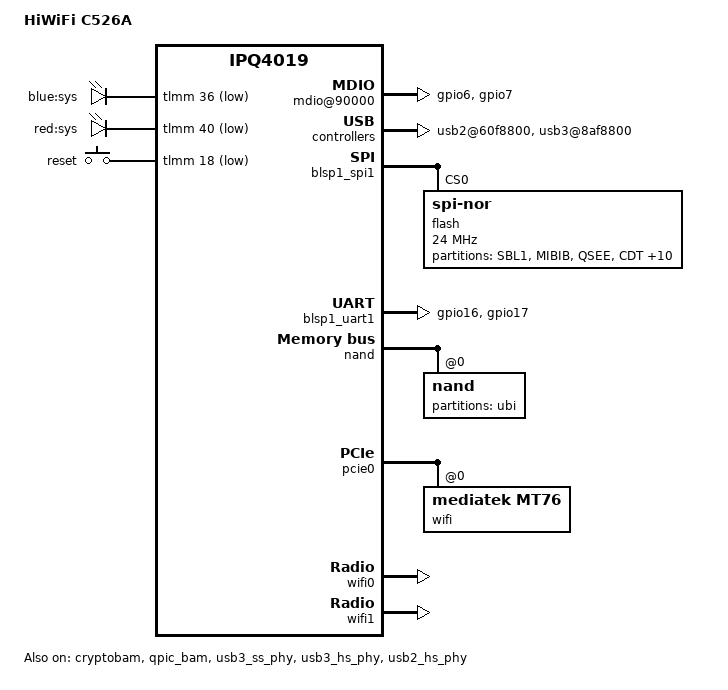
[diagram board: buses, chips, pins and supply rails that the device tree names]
// SPDX-License-Identifier: GPL-2.0-or-later OR MIT

#include "qcom-ipq4019.dtsi"
#include <dt-bindings/gpio/gpio.h>
#include <dt-bindings/input/input.h>
#include <dt-bindings/soc/qcom,tcsr.h>

/ {
	model = "HiWiFi C526A";
	compatible = "hiwifi,c526a";

	aliases {
		led-boot = &led_boot;
		led-failsafe = &led_boot;
		led-running = &led_sys;
		led-upgrade = &led_sys;
	};

	chosen {
		bootargs-append = " ubi.mtd=ubi root=/dev/ubiblock0_1";
	};

	soc {
		rng@22000 {
			status = "okay";
		};

		mdio@90000 {
			status = "okay";
			pinctrl-0 = <&mdio_pins>;
			pinctrl-names = "default";
		};

		ess-psgmii@98000 {
			status = "okay";
		};

		tcsr@1949000 {
			compatible = "qcom,tcsr";
			reg = <0x1949000 0x100>;
			qcom,wifi_glb_cfg = <TCSR_WIFI_GLB_CFG>;
		};

		tcsr@194b000 {
			compatible = "qcom,tcsr";
			reg = <0x194b000 0x100>;
			qcom,usb-hsphy-mode-select = <TCSR_USB_HSPHY_HOST_MODE>;
		};

		ess_tcsr@1953000 {
			compatible = "qcom,tcsr";
			reg = <0x1953000 0x1000>;
			qcom,ess-interface-select = <TCSR_ESS_PSGMII>;
		};

		tcsr@1957000 {
			compatible = "qcom,tcsr";
			reg = <0x1957000 0x100>;
			qcom,wifi_noc_memtype_m0_m2 = <TCSR_WIFI_NOC_MEMTYPE_M0_M2>;
		};

		usb2@60f8800 {
			status = "okay";
		};

		usb3@8af8800 {
			status = "okay";
		};

		crypto@8e3a000 {
			status = "okay";
		};

		watchdog@b017000 {
			status = "okay";
		};

		ess-switch@c000000 {
			status = "okay";
		};

		edma@c080000 {
			status = "okay";
		};
	};

	leds {
		compatible = "gpio-leds";

		led_sys: blue {
			label = "blue:sys";
			gpios = <&tlmm 36 GPIO_ACTIVE_LOW>;
		};

		led_boot: red {
			label = "red:sys";
			gpios = <&tlmm 40 GPIO_ACTIVE_LOW>;
			panic-indicator;
		};
	};

	keys {
		compatible = "gpio-keys";

		reset {
			label = "reset";
			gpios = <&tlmm 18 GPIO_ACTIVE_LOW>;
			linux,code = <KEY_RESTART>;
		};
	};
};

&blsp_dma {
	status = "okay";
};

&blsp1_spi1 {
	status = "okay";

	flash@0 {
		reg = <0>;
		compatible = "jedec,spi-nor";
		spi-max-frequency = <24000000>;

		partitions {
			compatible = "fixed-partitions";
			#address-cells = <1>;
			#size-cells = <1>;

			partition@0 {
				label = "SBL1";
				reg = <0x0 0x40000>;
				read-only;
			};

			partition@40000 {
				label = "MIBIB";
				reg = <0x40000 0x20000>;
				read-only;
			};

			partition@60000 {
				label = "QSEE";
				reg = <0x60000 0x60000>;
				read-only;
			};

			partition@c0000 {
				label = "CDT";
				reg = <0xc0000 0x10000>;
				read-only;
			};

			partition@d0000 {
				label = "DDRPARAMS";
				reg = <0xd0000 0x10000>;
				read-only;
			};

			partition@e0000 {
				label = "APPSBLENV";
				reg = <0xe0000 0x10000>;
				read-only;
			};

			partition@f0000 {
				label = "APPSBL";
				reg = <0xf0000 0x80000>;
				read-only;
			};

			partition@170000 {
				label = "ART";
				reg = <0x170000 0x10000>;
				read-only;
			};

			partition@180000 {
				label = "bdinfo";
				reg = <0x180000 0x10000>;
				read-only;
			};

			partition@190000 {
				label = "debug";
				reg = <0x190000 0x10000>;
				read-only;
			};

			partition@1a0000 {
				label = "oem";
				reg = <0x1a0000 0x20000>;
				read-only;
			};

			factory: partition@1c0000 {
				label = "Factory";
				reg = <0x1c0000 0x10000>;
				read-only;
			};

			partition@1d0000 {
				label = "hw_panic";
				reg = <0x1d0000 0x10000>;
				read-only;
			};

			partition@1e0000 {
				label = "upgrade_config";
				reg = <0x1e0000 0x10000>;
				read-only;
			};
		};
	};
};

&blsp1_uart1 {
	pinctrl-0 = <&serial_0_pins>;
	pinctrl-names = "default";
	status = "okay";
};

&cryptobam {
	status = "okay";
};

&nand {
	status = "okay";

	nand@0 {
		partitions {
			compatible = "fixed-partitions";
			#address-cells = <1>;
			#size-cells = <1>;

			partition@0 {
				label = "ubi";
				reg = <0x0 0x8000000>;
			};
		};
	};
};

&pcie0 {
	status = "okay";
	perst-gpios = <&tlmm 38 GPIO_ACTIVE_LOW>;
	wake-gpios = <&tlmm 50 GPIO_ACTIVE_LOW>;

	bridge@0,0 {
		reg = <0x00000000 0 0 0 0>;
		#address-cells = <3>;
		#size-cells = <2>;
		ranges;

		wifi@1,0 {
			compatible = "mediatek,mt76";
			reg = <0x0000 0 0 0 0>;
			mediatek,mtd-eeprom = <&factory 0x0000>;
			ieee80211-freq-limit = <2400000 2500000>;
		};
	};
};

&qpic_bam {
	status = "okay";
};

&tlmm {
	mdio_pins: mdio_pinmux {
		mux_1 {
			pins = "gpio6";
			function = "mdio";
			bias-pull-up;
		};

		mux_2 {
			pins = "gpio7";
			function = "mdc";
			bias-pull-up;
		};
	};

	serial_0_pins: serial0-pinmux {
		mux {
			pins = "gpio16", "gpio17";
			function = "blsp_uart0";
			bias-disable;
		};
	};
};

&usb3_ss_phy {
	status = "okay";
};

&usb3_hs_phy {
	status = "okay";
};

&usb2_hs_phy {
	status = "okay";
};

&wifi0 {
	status = "okay";
	ieee80211-freq-limit = <5470000 5875000>;
	qcom,ath10k-calibration-variant = "C526A";
};

&wifi1 {
	status = "okay";
	ieee80211-freq-limit = <5170000 5350000>;
	qcom,ath10k-calibration-variant = "C526A";
};
